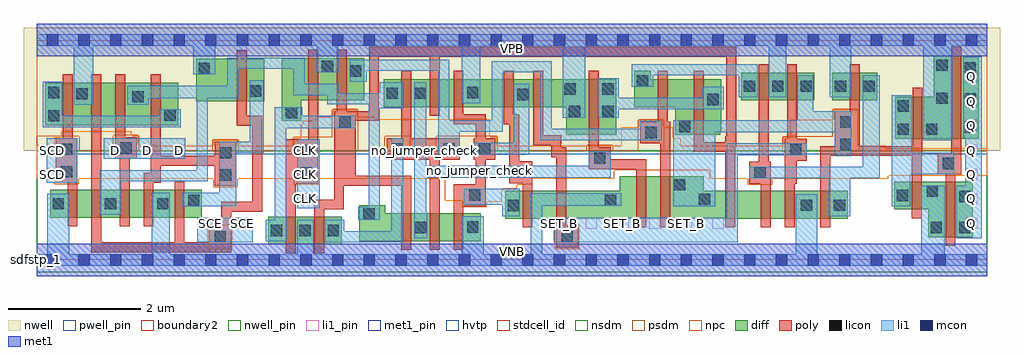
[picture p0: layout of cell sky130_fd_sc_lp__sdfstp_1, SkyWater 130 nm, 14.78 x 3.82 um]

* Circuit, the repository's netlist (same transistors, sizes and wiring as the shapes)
* Copyright 2020 The SkyWater PDK Authors
*
* Licensed under the Apache License, Version 2.0 (the "License");
* you may not use this file except in compliance with the License.
* You may obtain a copy of the License at
*
*     https://www.apache.org/licenses/LICENSE-2.0
*
* Unless required by applicable law or agreed to in writing, software
* distributed under the License is distributed on an "AS IS" BASIS,
* WITHOUT WARRANTIES OR CONDITIONS OF ANY KIND, either express or implied.
* See the License for the specific language governing permissions and
* limitations under the License.
*
* SPDX-License-Identifier: Apache-2.0

.SUBCKT sky130_fd_sc_lp__sdfstp_1 CLK D SCD SCE SET_B VGND VNB VPB VPWR Q
*.PININFO CLK:I D:I SCD:I SCE:I SET_B:I VGND:I VNB:I VPB:I VPWR:I Q:O
MI645 sceb SCE VPWR VPB sky130_fd_pr__pfet_01v8_hvt m=1 w=0.64U l=0.15U mult=1
+ sa=0.265 sb=0.265 sd=0.28 area=0.063 perim=1.14
MI658 M1 M0 VPWR VPB sky130_fd_pr__pfet_01v8_hvt m=1 w=0.42U l=0.15U mult=1 sa=0.265
+ sb=0.265 sd=0.28 area=0.063 perim=1.14
MI47 clkpos clkneg VPWR VPB sky130_fd_pr__pfet_01v8_hvt m=1 w=0.64U l=0.15U mult=1
+ sa=0.265 sb=0.265 sd=0.28 area=0.063 perim=1.14
MI663 net165 S0 VPWR VPB sky130_fd_pr__pfet_01v8_hvt m=1 w=0.64U l=0.15U mult=1
+ sa=0.265 sb=0.265 sd=0.28 area=0.063 perim=1.14
MI660 Q net165 VPWR VPB sky130_fd_pr__pfet_01v8_hvt m=1 w=1.26U l=0.15U mult=1
+ sa=0.265 sb=0.265 sd=0.28 area=0.063 perim=1.14
MI659 M1 SET_B VPWR VPB sky130_fd_pr__pfet_01v8_hvt m=1 w=0.42U l=0.15U mult=1
+ sa=0.265 sb=0.265 sd=0.28 area=0.063 perim=1.14
MI662 net109 M1 VPWR VPB sky130_fd_pr__pfet_01v8_hvt m=1 w=0.42U l=0.15U mult=1
+ sa=0.265 sb=0.265 sd=0.28 area=0.063 perim=1.14
MI664 M0 clkneg net109 VPB sky130_fd_pr__pfet_01v8_hvt m=1 w=0.42U l=0.15U mult=1
+ sa=0.265 sb=0.265 sd=0.28 area=0.063 perim=1.14
MI6 net96 S1 VPWR VPB sky130_fd_pr__pfet_01v8_hvt m=1 w=0.42U l=0.15U mult=1 sa=0.265
+ sb=0.265 sd=0.28 area=0.063 perim=1.14
MI669 S0 clkpos net96 VPB sky130_fd_pr__pfet_01v8_hvt m=1 w=0.42U l=0.15U mult=1
+ sa=0.265 sb=0.265 sd=0.28 area=0.063 perim=1.14
MI24 S0 SET_B VPWR VPB sky130_fd_pr__pfet_01v8_hvt m=1 w=0.42U l=0.15U mult=1 sa=0.265
+ sb=0.265 sd=0.28 area=0.063 perim=1.14
MI648 S1 S0 VPWR VPB sky130_fd_pr__pfet_01v8_hvt m=1 w=0.42U l=0.15U mult=1 sa=0.265
+ sb=0.265 sd=0.28 area=0.063 perim=1.14
MI38 S0 clkneg net84 VPB sky130_fd_pr__pfet_01v8_hvt m=1 w=0.84U l=0.15U mult=1
+ sa=0.265 sb=0.265 sd=0.28 area=0.063 perim=1.14
MI37 net84 M0 VPWR VPB sky130_fd_pr__pfet_01v8_hvt m=1 w=0.84U l=0.15U mult=1 sa=0.265
+ sb=0.265 sd=0.28 area=0.063 perim=1.14
MI43 db clkpos M0 VPB sky130_fd_pr__pfet_01v8_hvt m=1 w=0.42U l=0.15U mult=1 sa=0.265
+ sb=0.265 sd=0.28 area=0.063 perim=1.14
MI45 clkneg CLK VPWR VPB sky130_fd_pr__pfet_01v8_hvt m=1 w=0.64U l=0.15U mult=1
+ sa=0.265 sb=0.265 sd=0.28 area=0.063 perim=1.14
MI101 db sceb p1 VPB sky130_fd_pr__pfet_01v8_hvt m=1 w=0.64U l=0.15U mult=1 sa=0.265
+ sb=0.265 sd=0.28 area=0.063 perim=1.14
MI107 p0 SCE VPWR VPB sky130_fd_pr__pfet_01v8_hvt m=1 w=0.64U l=0.15U mult=1 sa=0.265
+ sb=0.265 sd=0.28 area=0.063 perim=1.14
MI94 db D p0 VPB sky130_fd_pr__pfet_01v8_hvt m=1 w=0.64U l=0.15U mult=1 sa=0.265
+ sb=0.265 sd=0.28 area=0.063 perim=1.14
MI108 p1 SCD VPWR VPB sky130_fd_pr__pfet_01v8_hvt m=1 w=0.64U l=0.15U mult=1 sa=0.265
+ sb=0.265 sd=0.28 area=0.063 perim=1.14
MI34 S0 clkpos net189 VNB sky130_fd_pr__nfet_01v8 m=1 w=0.64U l=0.15U mult=1 sa=0.265
+ sb=0.265 sd=0.28 area=0.063 perim=1.14
MI27 net209 S1 net157 VNB sky130_fd_pr__nfet_01v8 m=1 w=0.42U l=0.15U mult=1 sa=0.265
+ sb=0.265 sd=0.28 area=0.063 perim=1.14
MI647 S1 S0 VGND VNB sky130_fd_pr__nfet_01v8 m=1 w=0.42U l=0.15U mult=1 sa=0.265
+ sb=0.265 sd=0.28 area=0.063 perim=1.14
MI655 M0 clkpos net200 VNB sky130_fd_pr__nfet_01v8 m=1 w=0.42U l=0.15U mult=1 sa=0.265
+ sb=0.265 sd=0.28 area=0.063 perim=1.14
MI656 M1 M0 net196 VNB sky130_fd_pr__nfet_01v8 m=1 w=0.42U l=0.15U mult=1 sa=0.265
+ sb=0.265 sd=0.28 area=0.063 perim=1.14
MI654 net200 M1 VGND VNB sky130_fd_pr__nfet_01v8 m=1 w=0.42U l=0.15U mult=1 sa=0.265
+ sb=0.265 sd=0.28 area=0.063 perim=1.14
MI36 net189 M0 VGND VNB sky130_fd_pr__nfet_01v8 m=1 w=0.64U l=0.15U mult=1 sa=0.265
+ sb=0.265 sd=0.28 area=0.063 perim=1.14
MI26 S0 clkneg net209 VNB sky130_fd_pr__nfet_01v8 m=1 w=0.42U l=0.15U mult=1 sa=0.265
+ sb=0.265 sd=0.28 area=0.063 perim=1.14
MI42 db clkneg M0 VNB sky130_fd_pr__nfet_01v8 m=1 w=0.42U l=0.15U mult=1 sa=0.265
+ sb=0.265 sd=0.28 area=0.063 perim=1.14
MI46 clkpos clkneg VGND VNB sky130_fd_pr__nfet_01v8 m=1 w=0.42U l=0.15U mult=1
+ sa=0.265 sb=0.265 sd=0.28 area=0.063 perim=1.14
MI44 clkneg CLK VGND VNB sky130_fd_pr__nfet_01v8 m=1 w=0.42U l=0.15U mult=1 sa=0.265
+ sb=0.265 sd=0.28 area=0.063 perim=1.14
MI657 net196 SET_B VGND VNB sky130_fd_pr__nfet_01v8 m=1 w=0.42U l=0.15U mult=1
+ sa=0.265 sb=0.265 sd=0.28 area=0.063 perim=1.14
MI652 net165 S0 VGND VNB sky130_fd_pr__nfet_01v8 m=1 w=0.42U l=0.15U mult=1 sa=0.265
+ sb=0.265 sd=0.28 area=0.063 perim=1.14
MI644 sceb SCE VGND VNB sky130_fd_pr__nfet_01v8 m=1 w=0.42U l=0.15U mult=1 sa=0.265
+ sb=0.265 sd=0.28 area=0.063 perim=1.14
MI25 net157 SET_B VGND VNB sky130_fd_pr__nfet_01v8 m=1 w=0.42U l=0.15U mult=1 sa=0.265
+ sb=0.265 sd=0.28 area=0.063 perim=1.14
MI653 Q net165 VGND VNB sky130_fd_pr__nfet_01v8 m=1 w=0.84U l=0.15U mult=1 sa=0.265
+ sb=0.265 sd=0.28 area=0.063 perim=1.14
MI98 db D n0 VNB sky130_fd_pr__nfet_01v8 m=1 w=0.42U l=0.15U mult=1 sa=0.265 sb=0.265
+ sd=0.28 area=0.525 perim=3.1
MI103 n1 SCD VGND VNB sky130_fd_pr__nfet_01v8 m=1 w=0.42U l=0.15U mult=1 sa=0.265
+ sb=0.265 sd=0.28 area=0.525 perim=3.1
MI120 db SCE n1 VNB sky130_fd_pr__nfet_01v8 m=1 w=0.42U l=0.15U mult=1 sa=0.265
+ sb=0.265 sd=0.28 area=0.525 perim=3.1
MI104 n0 sceb VGND VNB sky130_fd_pr__nfet_01v8 m=1 w=0.42U l=0.15U mult=1 sa=0.265
+ sb=0.265 sd=0.28 area=0.525 perim=3.1
.ENDS sky130_fd_sc_lp__sdfstp_1

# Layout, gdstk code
import gdstk
lib = gdstk.Library(unit=1e-6, precision=1e-09)
def R(c, l, rs):  # rectangles x0, y0, x1, y1
    for r in rs: c.add(gdstk.rectangle(r[:2], r[2:], *l))
def A(c, l, x, y, w, h, nx, ny, dx, dy):  # array of equal rectangles
    R(c, l, [(x+i*dx, y+j*dy, x+i*dx+w, y+j*dy+h) for i in range(nx) for j in range(ny)])
def P(c, l, *ps):  # polygons
    for p in ps: c.add(gdstk.Polygon(p, *l))
nwell_pin = (64, 16)
nwell = (64, 20)
diff = (65, 20)
poly = (66, 20)
licon = (66, 44)
li1_pin = (67, 16)
li1 = (67, 20)
mcon = (67, 44)
met1_pin = (68, 16)
met1 = (68, 20)
hvtp = (78, 44)
stdcell_id = (81, 4)
nsdm = (93, 44)
psdm = (94, 20)
npc = (95, 20)
pwell_pin = (122, 16)
boundary2 = (236, 0)

sky130_fd_sc_lp__sdfstp_ = lib.new_cell('sky130_fd_sc_lp__sdfstp_1')
R(sky130_fd_sc_lp__sdfstp_, nwell_pin, [(0,3.085,14.4,3.33)])
R(sky130_fd_sc_lp__sdfstp_, nwell, [(-0.19,1.655,14.59,3.52)])
R(sky130_fd_sc_lp__sdfstp_, diff, [(3.51,0.235,4.62,0.655), (0.205,0.64,2.505,1.06), (0.135,2.04,2.145,2.68), (10.67,2.415,11.78,2.835), (12.05,2.415,12.73,2.835)])
P(sky130_fd_sc_lp__sdfstp_, diff, [(3.445,3.045),(2.785,3.045),(2.785,3.05),(2.415,3.05),(2.415,2.405),(3.445,2.405)],
  [(4.96,3.055),(3.715,3.055),(3.715,2.105),(4.005,2.105),(4.005,2.415),(4.96,2.415)],
  [(6.73,0.705),(5.28,0.705),(5.28,0.825),(4.89,0.825),(4.89,0.285),(6.73,0.285)],
  [(8.78,2.735),(5.26,2.735),(5.26,2.315),(8.02,2.315),(8.02,1.895),(8.78,1.895)],
  [(10.37,2.735),(9.3,2.735),(9.3,2.865),(9.05,2.865),(9.05,2.315),(9.67,2.315),(9.67,1.895),(10.355,1.895),(10.355,1.95),(10.37,1.95)],
  [(12.285,1.045),(10.105,1.045),(10.105,1.265),(8.835,1.265),(8.835,1.045),(7.095,1.045),(7.095,0.625),(12.285,0.625)],
  [(14.18,1.185),(12.99,1.185),(12.99,0.765),(13.5,0.765),(13.5,0.345),(14.18,0.345)],
  [(14.265,3.095),(13.585,3.095),(13.585,2.475),(13,2.475),(13,1.835),(14.265,1.835)])
P(sky130_fd_sc_lp__sdfstp_, poly, [(0.62,1.84),(0.55,1.84),(0.55,2.81),(0.4,2.81),(0.4,1.84),(0.29,1.84),(0.29,1.17),(0.47,1.17),(0.47,0.51),(0.62,0.51)],
  [(1.52,1.86),(1.34,1.86),(1.34,2.81),(1.19,2.81),(1.19,1.53),(1.26,1.53),(1.26,0.51),(1.41,0.51),(1.41,1.53),(1.52,1.53)],
  [(3.025,1.79),(2.695,1.79),(2.695,1.58),(1.88,1.58),(1.88,2.81),(1.73,2.81),(1.73,1.32),(1.62,1.32),(1.62,0.51),(1.77,0.51),(1.77,1.17),(1.88,1.17),(1.88,1.43),(2.695,1.43),(2.695,1.12),(3.025,1.12)],
  [(3.415,2.18),(3.18,2.18),(3.18,3.175),(3.03,3.175),(3.03,2.03),(3.265,2.03),(3.265,0.88),(2.795,0.88),(2.795,0.515),(2.615,0.515),(2.615,0.27),(2.24,0.27),(2.24,1.19),(2.09,1.19),(2.09,0.27),(0.98,0.27),(0.98,2.81),(0.83,2.81),(0.83,0.12),(2.945,0.12),(2.945,0.73),(3.415,0.73)],
  [(4.265,3.185),(4.115,3.185),(4.115,1.825),(3.775,1.825),(3.775,0.105),(3.925,0.105),(3.925,1.155),(4.265,1.155)],
  [(6.41,1.845),(5.675,1.845),(5.675,2.865),(5.525,2.865),(5.525,1.845),(5.3,1.845),(5.3,1.515),(5.955,1.515),(5.955,0.155),(6.105,0.155),(6.105,1.515),(6.41,1.515)],
  [(6.95,1.845),(6.8,1.845),(6.8,2.205),(6.465,2.205),(6.465,2.865),(6.315,2.865),(6.315,2.055),(6.65,2.055),(6.65,1.845),(6.62,1.845),(6.62,1.515),(6.65,1.515),(6.65,1.145),(6.315,1.145),(6.315,0.155),(6.465,0.155),(6.465,0.815),(6.8,0.815),(6.8,1.515),(6.95,1.515)],
  [(7.51,1.495),(7.31,1.495),(7.31,2.205),(7.225,2.205),(7.225,2.865),(7.075,2.865),(7.075,2.055),(7.16,2.055),(7.16,1.165),(7.36,1.165),(7.36,0.495),(7.51,0.495)],
  [(8.2,0.515),(8.02,0.515),(8.02,1.705),(7.945,1.705),(7.945,1.885),(7.67,1.885),(7.67,2.865),(7.52,2.865),(7.52,1.735),(7.795,1.735),(7.795,1.555),(7.87,1.555),(7.87,0.185),(8.2,0.185)],
  [(9.235,1.525),(8.695,1.525),(8.695,1.705),(8.515,1.705),(8.515,2.865),(8.365,2.865),(8.365,1.375),(9.085,1.375),(9.085,0.495),(9.235,0.495)],
  [(9.595,2.095),(9.56,2.095),(9.56,2.865),(9.41,2.865),(9.41,2.095),(9.14,2.095),(9.14,1.765),(9.445,1.765),(9.445,0.495),(9.595,0.495)],
  [(10.595,3.225),(5.035,3.225),(5.035,2.255),(4.695,2.255),(4.695,3.185),(4.545,3.185),(4.545,2.255),(4.505,2.255),(4.505,0.915),(4.205,0.915),(4.205,0.105),(4.355,0.105),(4.355,0.765),(4.655,0.765),(4.655,1.125),(5.525,1.125),(5.525,0.155),(5.675,0.155),(5.675,1.275),(4.835,1.275),(4.835,2.105),(5.185,2.105),(5.185,3.075),(5.955,3.075),(5.955,2.185),(6.105,2.185),(6.105,3.075),(10.445,3.075),(10.445,1.875),(10.43,1.875),(10.43,1.785),(10.105,1.785),(10.105,2.865),(9.955,2.865),(9.955,1.635),(10.43,1.635),(10.43,0.495),(10.58,0.495),(10.58,1.725),(10.595,1.725)],
  [(11.12,1.485),(11.085,1.485),(11.085,2.965),(10.935,2.965),(10.935,1.485),(10.79,1.485),(10.79,1.155),(10.97,1.155),(10.97,0.495),(11.12,0.495)],
  [(11.66,1.835),(11.515,1.835),(11.515,2.965),(11.365,2.965),(11.365,1.835),(11.33,1.835),(11.33,0.495),(11.48,0.495),(11.48,1.155),(11.51,1.155),(11.51,1.505),(11.66,1.505)],
  [(13.415,2.605),(13.265,2.605),(13.265,1.725),(12.465,1.725),(12.465,2.965),(12.315,2.965),(12.315,2.255),(12.09,2.255),(12.09,1.725),(11.87,1.725),(11.87,0.495),(12.02,0.495),(12.02,1.575),(13.255,1.575),(13.255,0.635),(13.405,0.635),(13.405,1.575),(13.415,1.575)],
  [(14,3.225),(13.85,3.225),(13.85,1.625),(13.645,1.625),(13.645,1.295),(13.765,1.295),(13.765,0.215),(13.915,0.215),(13.915,1.295),(14,1.295)])
A(sky130_fd_sc_lp__sdfstp_, licon, 3.55, 0.36, 0.17, 0.17, 3, 1, 0.43, 0)
A(sky130_fd_sc_lp__sdfstp_, licon, 0.245, 0.765, 0.17, 0.17, 3, 1, 0.79, 0)
A(sky130_fd_sc_lp__sdfstp_, licon, 10.71, 2.545, 0.17, 0.17, 3, 1, 0.43, 0)
R(sky130_fd_sc_lp__sdfstp_, licon, [(2.695,0.265,2.865,0.435), (7.95,0.265,8.12,0.435), (5.73,0.405,5.9,0.575), (13.54,0.405,13.71,0.575), (13.97,0.405,14.14,0.575), (6.52,0.415,6.69,0.585), (4.95,0.615,5.12,0.785), (7.135,0.74,7.305,0.91), (11.575,0.745,11.745,0.915), (12.075,0.745,12.245,0.915), (2.295,0.82,2.465,0.99), (8.605,0.82,8.775,0.99), (10.03,0.835,10.2,1.005), (13.97,0.875,14.14,1.045), (13.03,0.89,13.2,1.06), (6.55,0.895,6.72,1.065), (13.48,0.955,13.65,1.125), (9.65,1.055,9.82,1.225), (2.775,1.2,2.945,1.37), (3.995,1.235,4.165,1.405), (10.87,1.235,11.04,1.405), (7.24,1.245,7.41,1.415), (0.37,1.25,0.54,1.42), (13.725,1.375,13.895,1.545), (8.445,1.455,8.615,1.625), (2.775,1.54,2.945,1.71), (3.995,1.575,4.165,1.745), (11.41,1.585,11.58,1.755), (0.37,1.59,0.54,1.76), (5.38,1.595,5.55,1.765), (6.16,1.595,6.33,1.765), (6.7,1.595,6.87,1.765), (1.27,1.61,1.44,1.78), (12.17,1.665,12.34,1.835), (9.22,1.845,9.39,2.015), (13.04,1.895,13.21,2.065), (13.47,1.895,13.64,2.065), (14.055,1.93,14.225,2.1), (9.73,1.935,9.9,2.105), (4.585,2.005,4.755,2.175), (12.17,2.005,12.34,2.175), (0.175,2.1,0.345,2.27), (1.935,2.11,2.105,2.28), (3.775,2.145,3.945,2.315), (8.06,2.165,8.23,2.335), (8.57,2.165,8.74,2.335), (13.04,2.245,13.21,2.415), (10.16,2.345,10.33,2.515), (14.055,2.355,14.225,2.525), (13.625,2.365,13.795,2.535), (1.45,2.385,1.62,2.555), (7.28,2.42,7.45,2.59), (0.605,2.43,0.775,2.6), (5.3,2.44,5.47,2.61), (5.73,2.44,5.9,2.61), (0.175,2.45,0.345,2.62), (6.52,2.45,6.69,2.62), (3.235,2.475,3.405,2.645), (7.995,2.505,8.165,2.675), (8.57,2.505,8.74,2.675), (12.09,2.545,12.26,2.715), (12.52,2.545,12.69,2.715), (9.09,2.625,9.26,2.795), (4.75,2.775,4.92,2.945), (2.455,2.82,2.625,2.99), (14.055,2.825,14.225,2.995), (4.32,2.845,4.49,3.015), (13.625,2.865,13.795,3.035)])
A(sky130_fd_sc_lp__sdfstp_, li1_pin, 7.835, 0.47, 0.17, 0.17, 6, 1, 0.48, 0)
A(sky130_fd_sc_lp__sdfstp_, li1_pin, 14.075, 0.47, 0.17, 0.17, 1, 7, 0, 0.37)
A(sky130_fd_sc_lp__sdfstp_, li1_pin, 3.995, 0.84, 0.17, 0.17, 1, 3, 0, 0.37)
A(sky130_fd_sc_lp__sdfstp_, li1_pin, 1.115, 1.58, 0.17, 0.17, 3, 1, 0.48, 0)
R(sky130_fd_sc_lp__sdfstp_, li1_pin, [(2.555,0.47,2.725,0.64), (3.035,0.47,3.205,0.64), (0.155,1.21,0.325,1.38), (0.155,1.58,0.325,1.75)])
R(sky130_fd_sc_lp__sdfstp_, li1, [(2.43,0.265,3.275,0.64), (3.95,0.78,4.285,1.825), (0.155,1.17,0.62,1.84), (1.015,1.53,2.255,1.84)])
P(sky130_fd_sc_lp__sdfstp_, li1, [(2.185,2.28),(1.855,2.28),(1.855,2.18),(0.39,2.18),(0.39,2.7),(0.095,2.7),(0.095,2.01),(2.185,2.01)],
  [(3.44,2.725),(3.225,2.725),(3.225,1.79),(2.765,1.79),(2.765,1.02),(2.215,1.02),(2.215,0.81),(3.025,0.81),(3.025,1.62),(3.44,1.62)],
  [(12.77,2.795),(12.51,2.795),(12.51,1.415),(10.79,1.415),(10.79,1.235),(11.995,1.235),(11.995,0.665),(12.325,0.665),(12.325,1.235),(12.77,1.235)],
  [(13.895,1.625),(13.255,1.625),(13.255,2.495),(12.95,2.495),(12.95,0.81),(13.23,0.81),(13.23,1.295),(13.895,1.295)],
  [(14.4,3.415),(0,3.415),(0,3.245),(0.56,3.245),(0.56,2.35),(0.855,2.35),(0.855,3.245),(2.375,3.245),(2.375,2.81),(2.705,2.81),(2.705,3.245),(4.24,3.245),(4.24,2.845),(4.57,2.845),(4.57,3.245),(6.44,3.245),(6.44,2.37),(6.72,2.37),(6.72,3.245),(7.97,3.245),(7.97,2.155),(8.31,2.155),(8.31,3.245),(11.09,3.245),(11.09,2.465),(11.35,2.465),(11.35,3.245),(12.01,3.245),(12.01,2.465),(12.34,2.465),(12.34,3.245),(13.425,3.245),(13.425,1.815),(13.865,1.815),(13.865,3.245),(14.4,3.245)],
  [(14.315,3.075),(14.035,3.075),(14.035,1.85),(14.065,1.85),(14.065,1.125),(13.925,1.125),(13.925,0.325),(14.315,0.325)],
  [(4.835,2.185),(4.025,2.185),(4.025,2.315),(3.61,2.315),(3.61,0.61),(3.47,0.61),(3.47,0.28),(3.78,0.28),(3.78,1.995),(4.835,1.995)],
  [(5.55,2.69),(5.2,2.69),(5.2,2.525),(4.57,2.525),(4.57,2.665),(4.06,2.665),(4.06,3.065),(2.885,3.065),(2.885,2.64),(1.37,2.64),(1.37,2.35),(1.7,2.35),(1.7,2.45),(2.425,2.45),(2.425,1.36),(0.955,1.36),(0.955,0.685),(1.285,0.685),(1.285,1.19),(2.595,1.19),(2.595,2.45),(3.055,2.45),(3.055,2.895),(3.89,2.895),(3.89,2.495),(4.4,2.495),(4.4,2.355),(5.03,2.355),(5.03,0.805),(4.87,0.805),(4.87,0.605),(5.2,0.605),(5.2,2.295),(5.55,2.295)],
  [(5.55,1.845),(5.37,1.845),(5.37,0.435),(4.66,0.435),(4.66,0.61),(4.37,0.61),(4.37,0.265),(5.55,0.265)],
  [(7.315,1.075),(6.47,1.075),(6.47,0.835),(7.055,0.835),(7.055,0.66),(7.315,0.66)],
  [(7.46,2.67),(7.23,2.67),(7.23,1.775),(6.62,1.775),(6.62,1.595),(7.46,1.595)],
  [(8.695,1.645),(8.365,1.645),(8.365,1.425),(5.9,1.425),(5.9,2.69),(5.72,2.69),(5.72,0.325),(5.92,0.325),(5.92,0.725),(5.9,0.725),(5.9,1.245),(8.695,1.245)],
  [(9.47,2.105),(9.14,2.105),(9.14,1.985),(7.8,1.985),(7.8,3.01),(6.89,3.01),(6.89,2.115),(6.25,2.115),(6.25,3.035),(4.74,3.035),(4.74,2.695),(5,2.695),(5,2.865),(6.08,2.865),(6.08,1.595),(6.41,1.595),(6.41,1.945),(7.06,1.945),(7.06,2.84),(7.63,2.84),(7.63,1.815),(9.47,1.815)],
  [(10.41,2.625),(10.08,2.625),(10.08,2.455),(8.82,2.455),(8.82,2.755),(8.49,2.755),(8.49,2.155),(8.82,2.155),(8.82,2.285),(10.41,2.285)],
  [(10.92,2.965),(9.01,2.965),(9.01,2.625),(9.34,2.625),(9.34,2.795),(10.63,2.795),(10.63,2.465),(10.92,2.465)],
  [(11.66,1.765),(10.45,1.765),(10.45,0.64),(7.835,0.64),(7.835,0.265),(10.62,0.265),(10.62,1.585),(11.66,1.585)],
  [(12.34,2.255),(11.76,2.255),(11.76,2.795),(11.52,2.795),(11.52,2.115),(9.64,2.115),(9.64,0.81),(10.28,0.81),(10.28,1.935),(12.09,1.935),(12.09,1.585),(12.34,1.585)],
  [(14.4,0.085),(13.755,0.085),(13.755,1.125),(13.4,1.125),(13.4,0.085),(11.825,0.085),(11.825,0.995),(11.495,0.995),(11.495,0.085),(7.655,0.085),(7.655,0.82),(8.855,0.82),(8.855,1.01),(7.485,1.01),(7.485,0.085),(6.77,0.085),(6.77,0.665),(6.44,0.665),(6.44,0.085),(4.2,0.085),(4.2,0.61),(3.95,0.61),(3.95,0.085),(2.015,0.085),(2.015,1.015),(1.745,1.015),(1.745,0.085),(0.495,0.085),(0.495,1),(0.165,1),(0.165,0.085),(0,0.085),(0,-0.085),(14.4,-0.085)])
A(sky130_fd_sc_lp__sdfstp_, mcon, 0.155, -0.085, 0.17, 0.17, 30, 2, 0.48, 3.33)
R(sky130_fd_sc_lp__sdfstp_, met1_pin, [(0,0,14.4,0.245), (0,3.085,14.4,3.33)])
R(sky130_fd_sc_lp__sdfstp_, met1, [(0,-0.245,14.4,0.245), (0,3.085,14.4,3.575)])
R(sky130_fd_sc_lp__sdfstp_, hvtp, [(0,1.6,14.4,3.33)])
R(sky130_fd_sc_lp__sdfstp_, stdcell_id, [(0,0,14.4,3.33)])
R(sky130_fd_sc_lp__sdfstp_, nsdm, [(0,-0.19,14.4,1.655)])
P(sky130_fd_sc_lp__sdfstp_, psdm, [(14.4,3.52),(0,3.52),(0,1.87),(0.65,1.87),(0.65,1.655),(1.16,1.655),(1.16,1.89),(1.55,1.89),(1.55,1.655),(2.665,1.655),(2.665,1.82),(3.055,1.82),(3.055,1.655),(3.885,1.655),(3.885,1.855),(4.475,1.855),(4.475,2.285),(4.865,2.285),(4.865,1.655),(5.27,1.655),(5.27,1.875),(5.66,1.875),(5.66,1.655),(6.05,1.655),(6.05,1.875),(6.98,1.875),(6.98,1.655),(8.335,1.655),(8.335,1.735),(8.725,1.735),(8.725,1.655),(9.11,1.655),(9.11,2.125),(9.5,2.125),(9.5,1.655),(11.3,1.655),(11.3,1.865),(12.06,1.865),(12.06,2.285),(12.45,2.285),(12.45,1.655),(14.4,1.655)])
R(sky130_fd_sc_lp__sdfstp_, npc, [(2.595,0.165,2.965,0.535), (7.85,0.165,8.22,0.535)])
P(sky130_fd_sc_lp__sdfstp_, npc, [(14.4,1.695),(12.86,1.695),(12.86,1.73),(12.44,1.73),(12.44,2.275),(12.07,2.275),(12.07,2.12),(11.415,2.12),(11.415,1.855),(11.31,1.855),(11.31,1.73),(9.755,1.73),(9.755,1.845),(9.64,1.845),(9.64,2.01),(9.49,2.01),(9.49,2.115),(9.12,2.115),(9.12,2.01),(8.855,2.01),(8.855,1.73),(6.97,1.73),(6.97,1.865),(6.865,1.865),(6.865,2.13),(5.12,2.13),(5.12,2.17),(4.855,2.17),(4.855,2.275),(4.485,2.275),(4.485,2.17),(4.22,2.17),(4.22,2.11),(4.035,2.11),(4.035,2.055),(4,2.055),(4,1.845),(3.895,1.845),(3.895,1.73),(3.045,1.73),(3.045,1.81),(2.675,1.81),(2.675,1.73),(1.54,1.73),(1.54,1.88),(1.435,1.88),(1.435,1.95),(0.375,1.95),(0.375,1.86),(0.27,1.86),(0.27,1.73),(0,1.73),(0,1.23),(0.27,1.23),(0.27,1.15),(0.64,1.15),(0.64,1.23),(2.675,1.23),(2.675,1.1),(3.045,1.1),(3.045,1.23),(3.895,1.23),(3.895,1.135),(4.265,1.135),(4.265,1.23),(6.185,1.23),(6.185,0.9),(6.45,0.9),(6.45,0.795),(6.82,0.795),(6.82,0.88),(7.045,0.88),(7.045,1.075),(7.27,1.075),(7.27,1.135),(7.405,1.135),(7.405,1.145),(7.51,1.145),(7.51,1.23),(8.745,1.23),(8.745,1.355),(10.195,1.355),(10.195,1.23),(10.77,1.23),(10.77,1.135),(11.14,1.135),(11.14,1.23),(12.9,1.23),(12.9,1.275),(14.4,1.275)])
R(sky130_fd_sc_lp__sdfstp_, pwell_pin, [(0,0,14.4,0.245)])
R(sky130_fd_sc_lp__sdfstp_, boundary2, [(0,0,14.4,3.33)])
sky130_fd_sc_lp__sdfstp_.add(gdstk.Label('VNB', (7.2,0.123), layer=64, texttype=59))
sky130_fd_sc_lp__sdfstp_.add(gdstk.Label('VPB', (7.2,3.208), layer=64, texttype=5))
sky130_fd_sc_lp__sdfstp_.add(gdstk.Label('sdfstp_1', (0,0), layer=83, texttype=44))
sky130_fd_sc_lp__sdfstp_.add(gdstk.Label('no_jumper_check', (5.87,1.66), layer=83, texttype=44))
sky130_fd_sc_lp__sdfstp_.add(gdstk.Label('no_jumper_check', (6.71,1.35), layer=83, texttype=44))
sky130_fd_sc_lp__sdfstp_.add(gdstk.Label('VPWR', (7.2,3.208), layer=68, texttype=5))
sky130_fd_sc_lp__sdfstp_.add(gdstk.Label('VGND', (7.2,0.123), layer=68, texttype=5))
sky130_fd_sc_lp__sdfstp_.add(gdstk.Label('CLK', (4.08,0.925), layer=67, texttype=5))
sky130_fd_sc_lp__sdfstp_.add(gdstk.Label('CLK', (4.08,1.295), layer=67, texttype=5))
sky130_fd_sc_lp__sdfstp_.add(gdstk.Label('CLK', (4.08,1.665), layer=67, texttype=5))
sky130_fd_sc_lp__sdfstp_.add(gdstk.Label('SCE', (2.64,0.555), layer=67, texttype=5))
sky130_fd_sc_lp__sdfstp_.add(gdstk.Label('SCE', (3.12,0.555), layer=67, texttype=5))
sky130_fd_sc_lp__sdfstp_.add(gdstk.Label('SCD', (0.24,1.295), layer=67, texttype=5))
sky130_fd_sc_lp__sdfstp_.add(gdstk.Label('SCD', (0.24,1.665), layer=67, texttype=5))
sky130_fd_sc_lp__sdfstp_.add(gdstk.Label('D', (1.2,1.665), layer=67, texttype=5))
sky130_fd_sc_lp__sdfstp_.add(gdstk.Label('D', (1.68,1.665), layer=67, texttype=5))
sky130_fd_sc_lp__sdfstp_.add(gdstk.Label('D', (2.16,1.665), layer=67, texttype=5))
sky130_fd_sc_lp__sdfstp_.add(gdstk.Label('Q', (14.16,0.555), layer=67, texttype=5))
sky130_fd_sc_lp__sdfstp_.add(gdstk.Label('Q', (14.16,0.925), layer=67, texttype=5))
sky130_fd_sc_lp__sdfstp_.add(gdstk.Label('Q', (14.16,1.295), layer=67, texttype=5))
sky130_fd_sc_lp__sdfstp_.add(gdstk.Label('Q', (14.16,1.665), layer=67, texttype=5))
sky130_fd_sc_lp__sdfstp_.add(gdstk.Label('Q', (14.16,2.035), layer=67, texttype=5))
sky130_fd_sc_lp__sdfstp_.add(gdstk.Label('Q', (14.16,2.405), layer=67, texttype=5))
sky130_fd_sc_lp__sdfstp_.add(gdstk.Label('Q', (14.16,2.775), layer=67, texttype=5))
sky130_fd_sc_lp__sdfstp_.add(gdstk.Label('SET_B', (7.92,0.555), layer=67, texttype=5))
sky130_fd_sc_lp__sdfstp_.add(gdstk.Label('SET_B', (8.4,0.555), layer=67, texttype=5))
sky130_fd_sc_lp__sdfstp_.add(gdstk.Label('SET_B', (8.88,0.555), layer=67, texttype=5))
sky130_fd_sc_lp__sdfstp_.add(gdstk.Label('SET_B', (9.36,0.555), layer=67, texttype=5))
sky130_fd_sc_lp__sdfstp_.add(gdstk.Label('SET_B', (9.84,0.555), layer=67, texttype=5))
sky130_fd_sc_lp__sdfstp_.add(gdstk.Label('SET_B', (10.32,0.555), layer=67, texttype=5))

lib.write_gds('sky130_fd_sc_lp__sdfstp_1.gds')
